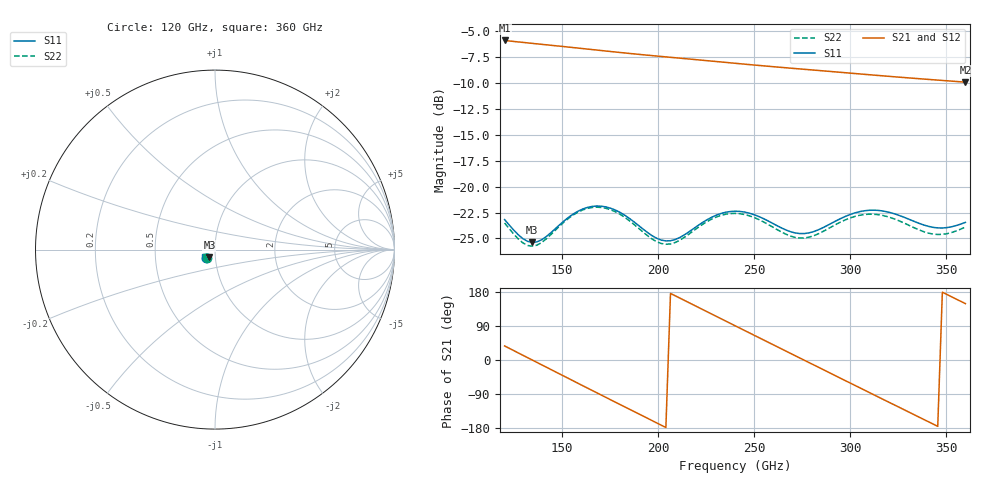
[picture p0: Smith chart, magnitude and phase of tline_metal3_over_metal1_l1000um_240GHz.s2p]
#  GHZ S DB R 50
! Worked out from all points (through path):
!   101 points, 120 GHz to 360 GHz, reference 50 ohm
!   highest |S21| = -5.94 dB at 120 GHz (marker M1); lowest = -10.0 dB at 360 GHz (marker M2)
!   group delay of S21, straight-line fit = 7.03 ps
!   lowest |S11| = -25.4 dB at 134.4 GHz (marker M3), VSWR 1.11, Z = 46.8 - j4.12 ohm
!   |S11| at or under -10 dB: start of sweep to end of sweep
!   |S22| runs from -25.7 to -22.0 dB; largest |S21 - S12| = 5.4e-14
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120  -23.18 -135.5  -5.94 37.1  -5.94 37.1  -23.51 -135.0
134.4  -25.38 -125.3  -6.22 -0.1  -6.22 -0.1  -25.74 -123.2
146.4  -24.06 -115.6  -6.44 -31.0  -6.44 -31.0  -24.21 -113.3
160.8  -22.15 -123.0  -6.72 -68.0  -6.72 -68.0  -22.24 -121.6
170.4  -21.89 -132.5  -6.91 -92.6  -6.91 -92.6  -22.01 -131.6
180  -22.48 -141.1  -7.09 -117.1  -7.09 -117.1  -22.66 -140.5
192  -24.08 -145.2  -7.31 -147.7  -7.31 -147.7  -24.36 -144.6
201.6  -25.15 -139.8  -7.48 -172.1  -7.48 -172.1  -25.48 -138.6
211.2  -24.91 -131.4  -7.64 163.5  -7.64 163.5  -25.17 -129.7
223.2  -23.45 -129.3  -7.84 133.0  -7.84 133.0  -23.63 -128.0
240  -22.38 -139.4  -8.13 90.5  -8.13 90.5  -22.58 -138.7
249.6  -22.69 -145.8  -8.30 66.2  -8.30 66.2  -22.95 -145.4
261.6  -23.74 -149.0  -8.49 35.9  -8.49 35.9  -24.11 -148.5
271.2  -24.46 -145.6  -8.64 11.7  -8.64 11.7  -24.89 -144.6
280.8  -24.35 -139.7  -8.79 -12.5  -8.79 -12.5  -24.75 -138.3
290.4  -23.52 -137.3  -8.93 -36.6  -8.93 -36.6  -23.87 -135.8
302.4  -22.54 -140.7  -9.12 -66.8  -9.12 -66.8  -22.88 -139.6
312  -22.27 -146.1  -9.27 -90.9  -9.27 -90.9  -22.66 -145.3
321.6  -22.54 -151.2  -9.41 -115.0  -9.41 -115.0  -23.02 -150.4
340.8  -23.84 -152.0  -9.69 -163.1  -9.69 -163.1  -24.49 -149.9
350.4  -23.95 -147.7  -9.82 172.8  -9.82 172.8  -24.54 -144.6
360  -23.45 -144.9  -9.95 148.8  -9.95 148.8  -23.90 -141.5
